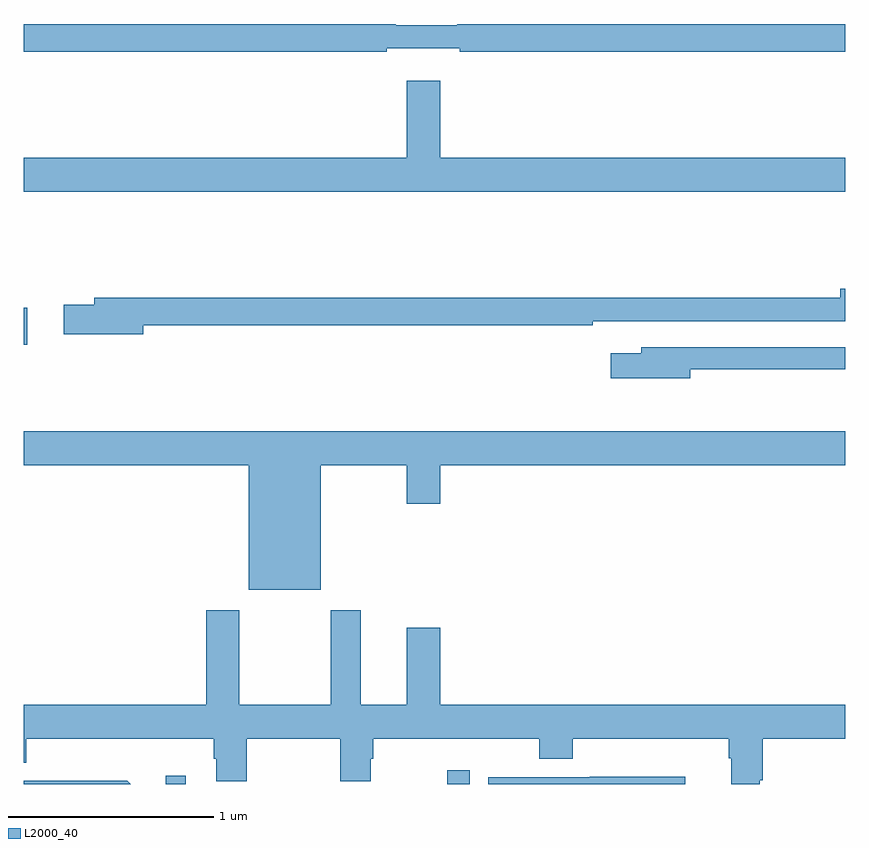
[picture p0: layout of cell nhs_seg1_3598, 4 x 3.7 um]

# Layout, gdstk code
import gdstk
lib = gdstk.Library(unit=1e-6, precision=1e-09)
def R(c, l, rs):  # rectangles x0, y0, x1, y1
    for r in rs: c.add(gdstk.rectangle(r[:2], r[2:], *l))
def P(c, l, *ps):  # polygons
    for p in ps: c.add(gdstk.Polygon(p, *l))
L2000_40 = (2000, 40)

nhs_seg1_3598 = lib.new_cell('nhs_seg1_3598')
R(nhs_seg1_3598, L2000_40, [(307.692,530.199,307.789,530.239), (309.063,530.199,309.171,530.266), (307,532.339,307.018,532.517)])
P(nhs_seg1_3598, L2000_40, [(308.768,533.783),(309.124,533.783),(309.124,533.764),(311,533.764),(311,533.9),(309.112,533.9),(309.112,533.893),(308.812,533.893),(308.812,533.9),(307,533.9),(307,533.764),(308.768,533.764)],
  [(311,533.248),(309.028,533.248),(309.028,533.623),(308.864,533.623),(308.864,533.248),(307,533.248),(307,533.084),(311,533.084)],
  [(307.582,532.432),(309.77,532.432),(309.77,532.452),(311,532.452),(311,532.611),(310.976,532.611),(310.976,532.568),(307.343,532.568),(307.343,532.532),(307.194,532.532),(307.194,532.39),(307.582,532.39)],
  [(310.246,532.218),(311,532.218),(311,532.326),(310.007,532.326),(310.007,532.297),(309.858,532.297),(309.858,532.175),(310.246,532.175)],
  [(308.446,531.752),(308.864,531.752),(308.864,531.564),(309.028,531.564),(309.028,531.752),(311,531.752),(311,531.916),(307,531.916),(307,531.752),(308.096,531.752),(308.096,531.146),(308.446,531.146)],
  [(308.542,530.212),(308.689,530.212),(308.689,530.322),(308.702,530.322),(308.702,530.42),(309.509,530.42),(309.509,530.321),(309.674,530.321),(309.674,530.42),(310.433,530.42),(310.433,530.324),(310.445,530.324),(310.445,530.199),(310.585,530.199),(310.585,530.218),(310.598,530.218),(310.598,530.42),(311,530.42),(311,530.584),(309.028,530.584),(309.028,530.959),(308.864,530.959),(308.864,530.584),(308.641,530.584),(308.641,531.046),(308.494,531.046),(308.494,530.584),(308.049,530.584),(308.049,531.046),(307.889,531.046),(307.889,530.584),(307,530.584),(307,530.303),(307.013,530.303),(307.013,530.42),(307.925,530.42),(307.925,530.322),(307.937,530.322),(307.937,530.212),(308.085,530.212),(308.085,530.42),(308.542,530.42)],
  [(310.221,530.234),(309.757,530.234),(309.757,530.232),(309.261,530.232),(309.261,530.199),(310.221,530.199)],
  [(307.504,530.216),(307.096,530.216),(307.096,530.214),(307,530.214),(307,530.199),(307.521,530.199)])

lib.write_gds('nhs_seg1_3598.gds')
